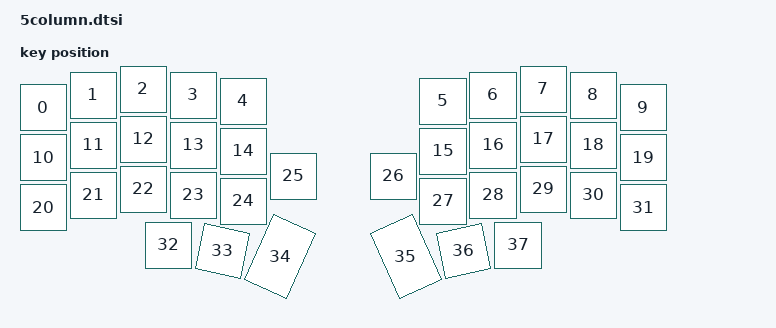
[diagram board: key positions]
#include "position_map.dtsi"
#include <physical_layouts.dtsi>

/ {
    corne_xiao_5col_layout: corne_xiao_5col_layout {
        compatible = "zmk,physical-layout";
        display-name = "5 Column";

        keys  //                     w   h    x    y     rot    rx    ry
            = <&key_physical_attrs 100 100    0   37       0     0     0> // 0
            , <&key_physical_attrs 100 100  100   12       0     0     0> // 1
            , <&key_physical_attrs 100 100  200    0       0     0     0> // 2
            , <&key_physical_attrs 100 100  300   12       0     0     0> // 3
            , <&key_physical_attrs 100 100  400   24       0     0     0> // 4
            , <&key_physical_attrs 100 100  800   24       0     0     0> // 5
            , <&key_physical_attrs 100 100  900   12       0     0     0> // 6
            , <&key_physical_attrs 100 100 1000    0       0     0     0> // 7
            , <&key_physical_attrs 100 100 1100   12       0     0     0> // 8
            , <&key_physical_attrs 100 100 1200   37       0     0     0> // 9
            , <&key_physical_attrs 100 100    0  137       0     0     0> // 10
            , <&key_physical_attrs 100 100  100  112       0     0     0> // 11
            , <&key_physical_attrs 100 100  200  100       0     0     0> // 12
            , <&key_physical_attrs 100 100  300  112       0     0     0> // 13
            , <&key_physical_attrs 100 100  400  124       0     0     0> // 14
            , <&key_physical_attrs 100 100  800  124       0     0     0> // 15
            , <&key_physical_attrs 100 100  900  112       0     0     0> // 16
            , <&key_physical_attrs 100 100 1000  100       0     0     0> // 17
            , <&key_physical_attrs 100 100 1100  112       0     0     0> // 18
            , <&key_physical_attrs 100 100 1200  137       0     0     0> // 19
            , <&key_physical_attrs 100 100    0  237       0     0     0> // 20
            , <&key_physical_attrs 100 100  100  212       0     0     0> // 21
            , <&key_physical_attrs 100 100  200  200       0     0     0> // 22
            , <&key_physical_attrs 100 100  300  212       0     0     0> // 23
            , <&key_physical_attrs 100 100  400  224       0     0     0> // 24
            , <&key_physical_attrs 100 100  500  174       0     0     0> // 25
            , <&key_physical_attrs 100 100  700  174       0     0     0> // 26
            , <&key_physical_attrs 100 100  800  224       0     0     0> // 27
            , <&key_physical_attrs 100 100  900  212       0     0     0> // 28
            , <&key_physical_attrs 100 100 1000  200       0     0     0> // 29
            , <&key_physical_attrs 100 100 1100  212       0     0     0> // 30
            , <&key_physical_attrs 100 100 1200  237       0     0     0> // 31
            , <&key_physical_attrs 100 100  250  312       0     0     0> // 32
            , <&key_physical_attrs 100 100  350  312    1200   350   412> // 33
            , <&key_physical_attrs 100 150  448  283    2400   448   433> // 34
            , <&key_physical_attrs 100 150  752  283  (-2400)  852   433> // 35
            , <&key_physical_attrs 100 100  850  312  (-1200)  950   412> // 36
            , <&key_physical_attrs 100 100  950  312       0     0     0> // 37
        ;
    };
};

&layouts_corne_xiao_position_map {
    corne_xiao_5col_posmap: five {
        physical-layout = <&corne_xiao_5col_layout>;
        positions
            = <38  0  1  2  3  4        5  6  7  8  9 39>
            , <40 10 11 12 13 14       15 16 17 18 19 41>
            , <42 20 21 22 23 24 25 26 27 28 29 30 31 43>
            , <         32 33 34       35 36 37        >;
    };
};

 // TARGET
  //
//     K00, K01, K02, K03, K04,      K05, K06, K07, K08, K09, \
//     K10, K11, K12, K13, K14,      K15, K16, K17, K18, K19, \
//     K20, K21, K22, K23, K24,      K25, K26, K27, K28, K29, \
//     N30, N31, K32, K33, K34,      K35, K36, K37, N38, N39 \
//
